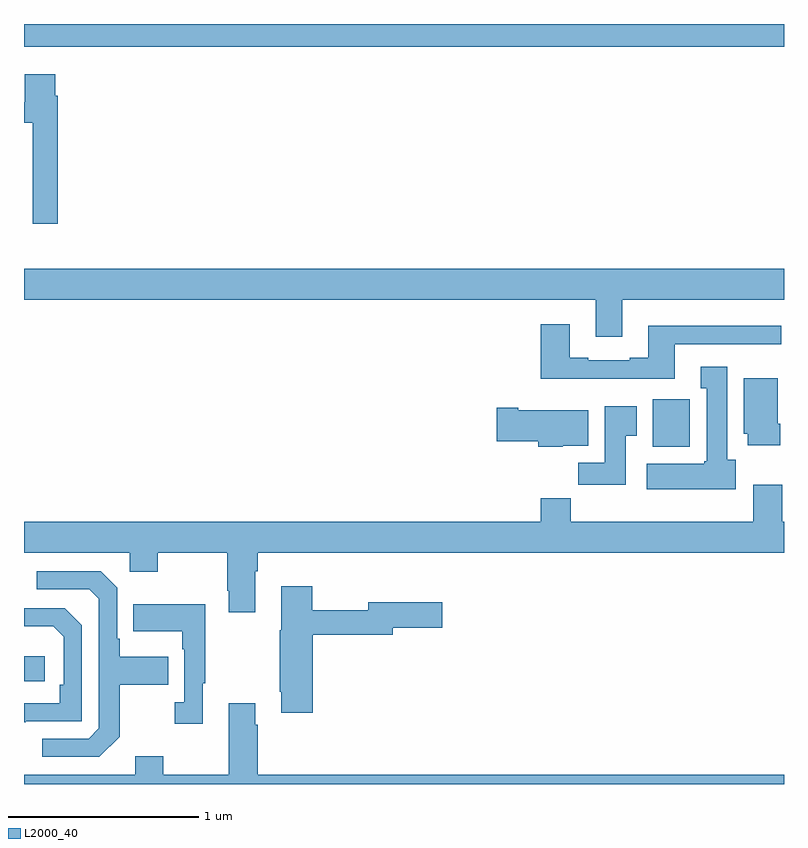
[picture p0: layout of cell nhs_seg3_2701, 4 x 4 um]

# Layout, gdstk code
import gdstk
lib = gdstk.Library(unit=1e-6, precision=1e-09)
def R(c, l, rs):  # rectangles x0, y0, x1, y1
    for r in rs: c.add(gdstk.rectangle(r[:2], r[2:], *l))
def P(c, l, *ps):  # polygons
    for p in ps: c.add(gdstk.Polygon(p, *l))
L2000_40 = (2000, 40)

nhs_seg3_2701 = lib.new_cell('nhs_seg3_2701')
R(nhs_seg3_2701, L2000_40, [(251,666.942,251.11,667.072), (254.309,668.174,254.505,668.425), (251,670.28,255,670.4)])
P(nhs_seg3_2701, L2000_40, [(251.177,670.022),(251.164,670.022),(251.164,670.135),(251.003,670.135),(251.003,669.988),(251,669.988),(251,669.879),(251.045,669.879),(251.045,669.348),(251.177,669.348)],
  [(254.149,668.948),(255,668.948),(255,669.112),(251,669.112),(251,668.948),(254.009,668.948),(254.009,668.754),(254.149,668.754)],
  [(254.425,668.715),(254.986,668.715),(254.986,668.812),(254.285,668.812),(254.285,668.644),(254.189,668.644),(254.189,668.631),(253.969,668.631),(253.969,668.644),(253.873,668.644),(253.873,668.821),(253.721,668.821),(253.721,668.534),(254.425,668.534)],
  [(254.746,668.106),(254.701,668.106),(254.701,668.596),(254.561,668.596),(254.561,668.483),(254.594,668.483),(254.594,668.1),(254.581,668.1),(254.581,668.086),(254.277,668.086),(254.277,667.952),(254.746,667.952)],
  [(254.981,668.296),(254.968,668.296),(254.968,668.536),(254.789,668.536),(254.789,668.244),(254.81,668.244),(254.81,668.184),(254.981,668.184)],
  [(254.167,668.233),(254.224,668.233),(254.224,668.389),(254.057,668.389),(254.057,668.092),(253.918,668.092),(253.918,667.974),(254.167,667.974)],
  [(253.836,668.18),(253.969,668.18),(253.969,668.368),(253.6,668.368),(253.6,668.381),(253.488,668.381),(253.488,668.203),(253.706,668.203),(253.706,668.174),(253.836,668.174)],
  [(252.217,667.52),(252.23,667.52),(252.23,667.616),(255,667.616),(255,667.78),(254.99,667.78),(254.99,667.975),(254.837,667.975),(254.837,667.78),(253.877,667.78),(253.877,667.904),(253.721,667.904),(253.721,667.78),(251,667.78),(251,667.616),(251.556,667.616),(251.556,667.517),(251.703,667.517),(251.703,667.616),(252.07,667.616),(252.07,667.417),(252.077,667.417),(252.077,667.305),(252.217,667.305)],
  [(251.503,666.649),(251.503,666.922),(251.759,666.922),(251.759,667.069),(251.503,667.069),(251.503,667.165),(251.49,667.165),(251.49,667.434),(251.403,667.521),(251.067,667.521),(251.067,667.425),(251.343,667.425),(251.394,667.374),(251.394,666.693),(251.34,666.639),(251.097,666.639),(251.097,666.543),(251.397,666.543)],
  [(252.521,667.186),(252.94,667.186),(252.94,667.223),(253.201,667.223),(253.201,667.357),(252.812,667.357),(252.812,667.315),(252.516,667.315),(252.516,667.441),(252.353,667.441),(252.353,667.209),(252.346,667.209),(252.346,666.886),(252.353,666.886),(252.353,666.774),(252.521,666.774)],
  [(251.941,666.929),(251.953,666.929),(251.953,667.345),(251.575,667.345),(251.575,667.205),(251.832,667.205),(251.832,667.109),(251.844,667.109),(251.844,666.83),(251.793,666.83),(251.793,666.717),(251.941,666.717)],
  [(251.009,666.729),(251.304,666.729),(251.304,667.236),(251.214,667.326),(251,667.326),(251,667.229),(251.155,667.229),(251.208,667.176),(251.208,666.922),(251.188,666.922),(251.188,666.825),(251,666.825),(251,666.724),(251.009,666.724)],
  [(255,666.448),(252.23,666.448),(252.23,666.713),(252.217,666.713),(252.217,666.826),(252.077,666.826),(252.077,666.448),(251.733,666.448),(251.733,666.547),(251.585,666.547),(251.585,666.448),(251,666.448),(251,666.4),(255,666.4)])

lib.write_gds('nhs_seg3_2701.gds')
